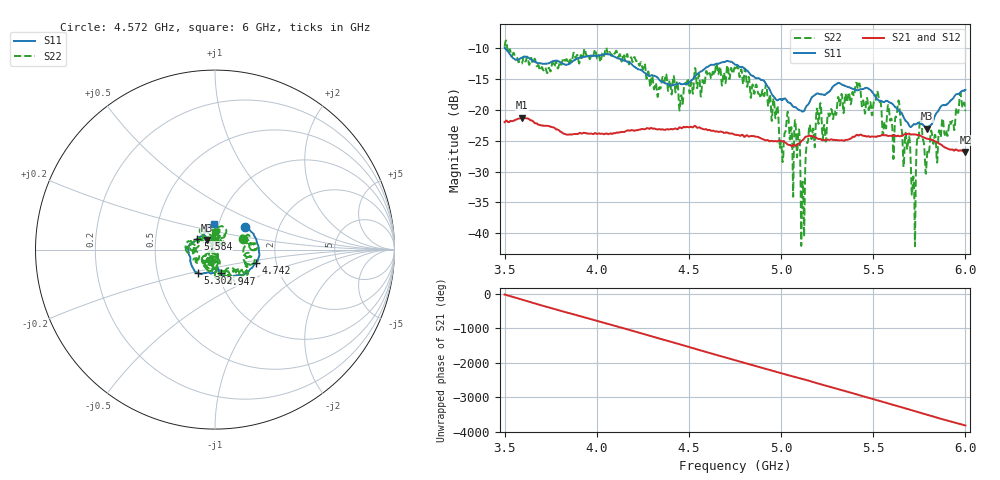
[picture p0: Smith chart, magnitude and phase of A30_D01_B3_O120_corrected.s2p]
! Created with skrf 1.9.0 (http://scikit-rf.org).
# Hz S RI R 50.0
!freq ReS11 ImS11 ReS21 ImS21 ReS12 ImS12 ReS22 ImS22
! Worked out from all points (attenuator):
!   1601 points, 3.5 GHz to 6 GHz, reference 50 ohm
!   highest |S21| = -21.28 dB at 3.592 GHz (marker M1); lowest = -26.8 dB at 6 GHz (marker M2)
!   lowest |S11| = -23.0 dB at 5.791 GHz (marker M3), VSWR 1.15, Z = 45.3 + j4.86 ohm
!   |S11| at or under -10 dB: 3.501 GHz to end of sweep
!   |S22| runs from -42.1 to -8.7 dB; largest |S21 - S12| = 0.0012
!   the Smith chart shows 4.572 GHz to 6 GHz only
!   S11 on the Smith chart (normalised r, x): 4.572 GHz: 1.34, +0.35; 4.742 GHz: 1.56, -0.25; 4.947 GHz: 1.03, -0.28; 5.302 GHz: 0.80, -0.21; 5.584 GHz: 0.81, +0.10; 6 GHz: 0.95, +0.28
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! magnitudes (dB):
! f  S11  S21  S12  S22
! 3.5 GHz  -10.0  -22.0  -22.0  -9.8
! 3.592 GHz  -11.6  -21.3  -21.3  -12.5
! 3.917 GHz  -11.5  -23.8  -23.8  -11.2
! 4.334 GHz  -14.9  -23.1  -23.1  -17.1
! 4.572 GHz  -13.7  -23.1  -23.1  -15.6
! 4.742 GHz  -12.5  -23.9  -23.9  -13.8
! 4.75 GHz  -12.6  -24.1  -24.0  -13.2
! 4.947 GHz  -17.3  -25.0  -25.0  -20.9
! 5.003 GHz  -18.3  -25.1  -25.1  -26.2
! 5.088 GHz  -19.8  -25.7  -25.7  -27.5
! 5.117 GHz  -20.3  -24.9  -24.9  -31.7
! 5.145 GHz  -19.2  -24.3  -24.3  -25.1
! 5.167 GHz  -18.0  -24.3  -24.2  -24.6
! 5.302 GHz  -15.8  -24.9  -24.9  -20.2
! 5.416 GHz  -16.8  -24.1  -24.1  -16.6
! 5.584 GHz  -18.7  -24.2  -24.2  -19.5
! 5.641 GHz  -20.2  -24.3  -24.2  -18.9
! 5.691 GHz  -22.3  -23.9  -23.8  -24.7
! 5.717 GHz  -22.4  -24.0  -23.9  -30.8
! 5.752 GHz  -22.1  -24.1  -24.1  -22.2
! 5.791 GHz  -23.0  -24.6  -24.6  -27.9
! 6 GHz  -16.8  -26.8  -26.8  -20.2
